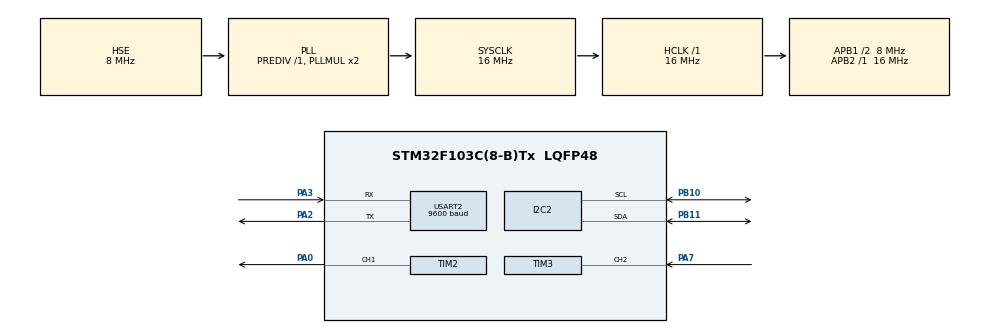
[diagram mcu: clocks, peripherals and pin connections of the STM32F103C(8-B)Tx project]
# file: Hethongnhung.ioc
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ADC1.Channel-0\#ChannelRegularConversion=ADC_CHANNEL_VREFINT
ADC1.Channel-1\#ChannelRegularConversion=ADC_CHANNEL_TEMPSENSOR
ADC1.ContinuousConvMode=ENABLE
ADC1.EnableAnalogWatchDog=false
ADC1.ExternalTrigConv=ADC_EXTERNALTRIGCONV_T3_TRGO
ADC1.NbrOfConversion=2
ADC1.NbrOfConversionFlag=1
ADC1.Rank-0\#ChannelRegularConversion=1
ADC1.Rank-1\#ChannelRegularConversion=2
ADC1.SamplingTime-0\#ChannelRegularConversion=ADC_SAMPLETIME_239CYCLES_5
ADC1.SamplingTime-1\#ChannelRegularConversion=ADC_SAMPLETIME_239CYCLES_5
ADC1.master=1
Dma.ADC1.0.Direction=DMA_PERIPH_TO_MEMORY
Dma.ADC1.0.Instance=DMA1_Channel1
Dma.ADC1.0.MemDataAlignment=DMA_MDATAALIGN_HALFWORD
Dma.ADC1.0.MemInc=DMA_MINC_ENABLE
Dma.ADC1.0.Mode=DMA_CIRCULAR
Dma.ADC1.0.PeriphDataAlignment=DMA_PDATAALIGN_HALFWORD
Dma.ADC1.0.PeriphInc=DMA_PINC_DISABLE
Dma.ADC1.0.Priority=DMA_PRIORITY_LOW
Dma.Request0=ADC1
Mcu.Family=STM32F1
Mcu.Name=STM32F103C(8-B)Tx
Mcu.Package=LQFP48
NVIC.ADC1_2_IRQn=true\:0\:0\:false\:false\:true\:true\:true\:true
NVIC.DMA1_Channel1_IRQn=true\:0\:0\:false\:false\:true\:false\:true\:true
NVIC.PriorityGroup=NVIC_PRIORITYGROUP_4
NVIC.TIM3_IRQn=true\:0\:0\:true\:false\:true\:true\:true\:true
NVIC.USART2_IRQn=true\:0\:0\:false\:false\:true\:true\:true\:true
PA0-WKUP.Signal=S_TIM2_CH1_ETR
PA13.Mode=Serial_Wire
PA13.Signal=SYS_JTMS-SWDIO
PA14.Mode=Serial_Wire
PA14.Signal=SYS_JTCK-SWCLK
PA2.Mode=Asynchronous
PA2.Signal=USART2_TX
PA3.Mode=Asynchronous
PA3.Signal=USART2_RX
PA7.GPIO_PuPd=GPIO_PULLDOWN
PA7.Signal=S_TIM3_CH2
PB10.Mode=I2C
PB10.Signal=I2C2_SCL
PB11.Mode=I2C
PB11.Signal=I2C2_SDA
PD0-OSC_IN.Mode=HSE-External-Oscillator
PD0-OSC_IN.Signal=RCC_OSC_IN
PD1-OSC_OUT.Mode=HSE-External-Oscillator
PD1-OSC_OUT.Signal=RCC_OSC_OUT
ProjectManager.HeapSize=0x200
ProjectManager.StackSize=0x400
ProjectManager.TargetToolchain=STM32CubeIDE
RCC.AHBFreq_Value=16000000
RCC.APB1CLKDivider=RCC_HCLK_DIV2
RCC.APB1Freq_Value=8000000
RCC.APB1TimFreq_Value=16000000
RCC.APB2Freq_Value=16000000
RCC.APB2TimFreq_Value=16000000
RCC.HCLKFreq_Value=16000000
RCC.PLLSourceVirtual=RCC_PLLSOURCE_HSE
RCC.SYSCLKFreq_VALUE=16000000
RCC.SYSCLKSource=RCC_SYSCLKSOURCE_PLLCLK
RCC.USBFreq_Value=16000000
SH.S_TIM2_CH1_ETR.0=TIM2_CH1,PWM Generation1 CH1
SH.S_TIM3_CH2.0=TIM3_CH2,Input_Capture2_from_TI2
TIM2.AutoReloadPreload=TIM_AUTORELOAD_PRELOAD_ENABLE
TIM2.Channel-PWM\ Generation1\ CH1=TIM_CHANNEL_1
TIM2.Period=999
TIM2.Prescaler=15
TIM2.Pulse-PWM\ Generation1\ CH1=499
TIM3.AutoReloadPreload=TIM_AUTORELOAD_PRELOAD_ENABLE
TIM3.Channel-Input_Capture2_from_TI2=TIM_CHANNEL_2
TIM3.ICFilter_CH2=10
TIM3.Period=65535
TIM3.Prescaler=15
TIM3.TIM_MasterOutputTrigger=TIM_TRGO_UPDATE
USART2.BaudRate=9600
USART2.VirtualMode=VM_ASYNC
VP_ADC1_TempSens_Input.Mode=IN-TempSens
VP_ADC1_Vref_Input.Mode=IN-Vrefint
VP_TIM2_VS_ClockSourceINT.Mode=Internal
VP_TIM3_VS_ClockSourceINT.Mode=Internal
board=custom

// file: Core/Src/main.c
/* USER CODE BEGIN Header */
/**
  ******************************************************************************
  * @file           : main.c
  * @brief          : Main program body
  ******************************************************************************
  * @attention
  *
  * Copyright (c) 2025 STMicroelectronics.
  * All rights reserved.
  *
  * This software is licensed under terms that can be found in the LICENSE file
  * in the root directory of this software component.
  * If no LICENSE file comes with this software, it is provided AS-IS.
  *
  ******************************************************************************
  */
/* USER CODE END Header */
#include "main.h"
#include "adc.h"
#include "dma.h"
#include "i2c.h"
#include "tim.h"
#include "usart.h"
#include "gpio.h"

/* USER CODE BEGIN Includes */
#include <stdio.h>
#include <string.h>
#include "i2c-lcd.h"

/* USER CODE END Includes */

/* USER CODE BEGIN PV */

volatile float frequency = 0;
volatile uint32_t last_capture_tick = 0;
const uint32_t timeout_ms = 500;
volatile uint32_t pulse_count = 0;
double Temperature, VTmpSens, VrefeInt;
#define VREFRINT 1.20
#define ADCMAX 4095.0
#define AVG_SLOPE 0.0043
#define V25 1.43
extern UART_HandleTypeDef huart2;
#define CYCLE_MS 6000
float saved_frequency = 0;
float saved_temperature = 0;
uint16_t AdcRaw[2];
uint8_t AdcConvCmplt = 0;
uint32_t freq_tick_start = 0;
uint8_t freq_started = 0;
#define FRAME_MS 250
#define TOTAL_FRAMES 8
volatile uint32_t ic_val1 = 0, ic_val2 = 0;
volatile uint8_t is_first = 0;
volatile float measured_freq = 0;

/* USER CODE END PV */

void SystemClock_Config(void);

/* USER CODE BEGIN 0 */
void HAL_TIM_IC_CaptureCallback(TIM_HandleTypeDef *htim) {
    if (htim->Instance == TIM3 && htim->Channel == HAL_TIM_ACTIVE_CHANNEL_2) {
        if (!is_first) {
            ic_val1 = HAL_TIM_ReadCapturedValue(htim, TIM_CHANNEL_2);
            is_first = 1;
        } else {
            ic_val2 = HAL_TIM_ReadCapturedValue(htim, TIM_CHANNEL_2);
            uint32_t diff = (ic_val2 > ic_val1) ? (ic_val2 - ic_val1) : (0xFFFF - ic_val1 + ic_val2);
            measured_freq = 1e6 / diff; // 1 MHz timer clock
            is_first = 0;
        }
    }
}
void HAL_ADC_ConvCpltCallback(ADC_HandleTypeDef* hadc)
{
    if (hadc->Instance == ADC1) {
        AdcConvCmplt = 1;
    }
}
void Task1()
{
	  char msg[64];
	  if (freq_started && HAL_GetTick() - freq_tick_start >= 1000) {
	      saved_frequency = pulse_count;
	      pulse_count = 0;
	      freq_started = 0;
	  }

	    	  if (frame_index == 1 && !freq_started) {
	    	      freq_tick_start = HAL_GetTick();
	    	      freq_started = 1;
	    	  } else if (HAL_GetTick() - freq_tick_start >= 1000) {
	    	      saved_frequency = measured_freq;
	    	      freq_started = 0;
	    	  }

}
void Task2()
{
        if (AdcConvCmplt) {
            VrefeInt = (VREFRINT * ADCMAX) / AdcRaw[0];
            VTmpSens = (VrefeInt * AdcRaw[1]) / ADCMAX;
            saved_temperature = (V25 - VTmpSens) / AVG_SLOPE + 25.0;
            AdcConvCmplt = 0;
        }
    }
void Task3()
{
    sprintf(msg, "Tan so = %.0f Hz\r\nNhiet do = %.1f C\r\n", saved_frequency, saved_temperature);
    HAL_UART_Transmit(&huart2, (uint8_t*)msg, strlen(msg), 100);
    uart_sent = 1;
}
/* USER CODE END 0 */

int main(void)
{

  /* USER CODE BEGIN 1 */
	pulse_count = 0;
  /* USER CODE END 1 */

  /* MCU Configuration--------------------------------------------------------*/

  /* Reset of all peripherals, Initializes the Flash interface and the Systick. */
  HAL_Init();

  /* Configure the system clock */
  SystemClock_Config();

  /* Initialize all configured peripherals */
  MX_GPIO_Init();
  MX_DMA_Init();
  MX_TIM3_Init();
  MX_TIM2_Init();
  MX_ADC1_Init();
  MX_USART2_UART_Init();
  MX_I2C2_Init();
  /* USER CODE BEGIN 2 */
  HAL_TIM_PWM_Start(&htim2, TIM_CHANNEL_1);
  HAL_TIM_IC_Start_IT(&htim3, TIM_CHANNEL_2);
  HAL_ADC_Start_DMA(&hadc1, (uint32_t*)AdcRaw, 2);
  uint32_t frame_start = HAL_GetTick();
  uint8_t frame_index = 0;
  lcd_init();
  lcd_clear();
  uint8_t uart_sent = 0;

  /* USER CODE END 2 */

  /* Infinite loop */
  while (1) {

    /* USER CODE BEGIN 3 */
      if (frame_index == 1 || frame_index == 5) {
    	  Task1();
      }
    	  if (frame_index == 2 || frame_index == 6)
    	  {
    		  Task2();
    	  }
	      if (frame_index == 7 && uart_sent == 0) {
	    	  Task3();
	      }
	      while (HAL_GetTick() - frame_start < FRAME_MS);
	      frame_start += FRAME_MS;
	      frame_index = (frame_index + 1) % TOTAL_FRAMES;
	      if (frame_index == 6) uart_sent = 0;
  }
  /* USER CODE END 3 */
}

void SystemClock_Config(void)
{
  RCC_OscInitTypeDef RCC_OscInitStruct = {0};
  RCC_ClkInitTypeDef RCC_ClkInitStruct = {0};
  RCC_PeriphCLKInitTypeDef PeriphClkInit = {0};

  /** Initializes the RCC Oscillators according to the specified parameters
  * in the RCC_OscInitTypeDef structure.
  */
  RCC_OscInitStruct.OscillatorType = RCC_OSCILLATORTYPE_HSE;
  RCC_OscInitStruct.HSEState = RCC_HSE_ON;
  RCC_OscInitStruct.HSEPredivValue = RCC_HSE_PREDIV_DIV1;
  RCC_OscInitStruct.HSIState = RCC_HSI_ON;
  RCC_OscInitStruct.PLL.PLLState = RCC_PLL_ON;
  RCC_OscInitStruct.PLL.PLLSource = RCC_PLLSOURCE_HSE;
  RCC_OscInitStruct.PLL.PLLMUL = RCC_PLL_MUL2;
  if (HAL_RCC_OscConfig(&RCC_OscInitStruct) != HAL_OK)
  {
    Error_Handler();
  }

  /** Initializes the CPU, AHB and APB buses clocks
  */
  RCC_ClkInitStruct.ClockType = RCC_CLOCKTYPE_HCLK|RCC_CLOCKTYPE_SYSCLK
                              |RCC_CLOCKTYPE_PCLK1|RCC_CLOCKTYPE_PCLK2;
  RCC_ClkInitStruct.SYSCLKSource = RCC_SYSCLKSOURCE_PLLCLK;
  RCC_ClkInitStruct.AHBCLKDivider = RCC_SYSCLK_DIV1;
  RCC_ClkInitStruct.APB1CLKDivider = RCC_HCLK_DIV2;
  RCC_ClkInitStruct.APB2CLKDivider = RCC_HCLK_DIV1;

  if (HAL_RCC_ClockConfig(&RCC_ClkInitStruct, FLASH_LATENCY_0) != HAL_OK)
  {
    Error_Handler();
  }
  PeriphClkInit.PeriphClockSelection = RCC_PERIPHCLK_ADC;
  PeriphClkInit.AdcClockSelection = RCC_ADCPCLK2_DIV2;
  if (HAL_RCCEx_PeriphCLKConfig(&PeriphClkInit) != HAL_OK)
  {
    Error_Handler();
  }
}

void Error_Handler(void)
{
  __disable_irq();
  while (1)
  {
  }
}
